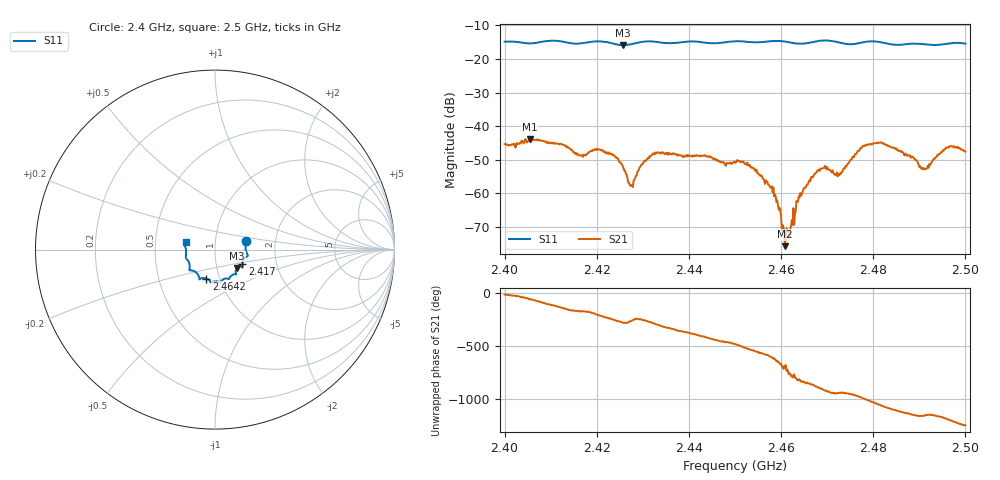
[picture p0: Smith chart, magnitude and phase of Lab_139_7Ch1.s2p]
# Hz S RI R 50
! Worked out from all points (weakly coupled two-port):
!   601 points, 2.4 GHz to 2.5 GHz, reference 50 ohm
!   highest |S21| = -43.79 dB at 2.4055 GHz (marker M1); lowest = -75.7 dB at 2.4608 GHz (marker M2)
!   lowest |S11| = -15.9 dB at 2.4257 GHz (marker M3), VSWR 1.38, Z = 62.4 - j13.1 ohm
!   |S11| at or under -10 dB: start of sweep to end of sweep
!   S12 and S22 are empty: the file has one direction only
!   S11 on the Smith chart (normalised r, x): 2.4 GHz: 1.41, +0.14; 2.417 GHz: 1.34, -0.22; 2.4642 GHz: 0.86, -0.29; 2.5 GHz: 0.72, +0.06
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2.4e9  0.1733 0.0493  0.00512 -0.00173  0 0  0 0
2.4055e9  0.17 0.00692  0.00322 -0.00561  0 0  0 0
2.416667e9  0.153 -0.0747  -0.00366 -0.000204  0 0  0 0
2.417e9  0.1524 -0.0788  -0.00349 -0.000325  0 0  0 0
2.420667e9  0.1544 -0.0967  -0.00356 0.0027  0 0  0 0
2.425667e9  0.1226 -0.1024  0.000579 0.00243  0 0  0 0
2.4275e9  0.1153 -0.1189  -8.62e-05 0.00129  0 0  0 0
2.43e9  0.1175 -0.1361  -0.000569 0.0027  0 0  0 0
2.433333e9  0.1129 -0.1367  0.00227 0.00339  0 0  0 0
2.45e9  0.0294 -0.1808  -0.00162 -0.00237  0 0  0 0
2.457833e9  -0.0178 -0.1828  -0.000515 0.00112  0 0  0 0
2.460833e9  -0.0256 -0.1792  0.000145 7.65e-05  0 0  0 0
2.462e9  -0.0297 -0.1724  0.000207 -0.000212  0 0  0 0
2.464167e9  -0.048 -0.1613  -0.000343 -0.000954  0 0  0 0
2.466667e9  -0.076 -0.1596  -0.00142 -0.000937  0 0  0 0
2.469e9  -0.0875 -0.1659  -0.00233 0.000368  0 0  0 0
2.472833e9  -0.0901 -0.1486  -0.00149 0.00132  0 0  0 0
2.478167e9  -0.136 -0.1157  0.00097 0.00499  0 0  0 0
2.483333e9  -0.1408 -0.09  0.00497 -0.000643  0 0  0 0
2.491e9  -0.1619 -0.0344  0.000488 -0.00232  0 0  0 0
2.496333e9  -0.168 0.0215  -0.00189 -0.00447  0 0  0 0
2.5e9  -0.1637 0.0416  -0.0041 -0.000749  0 0  0 0
